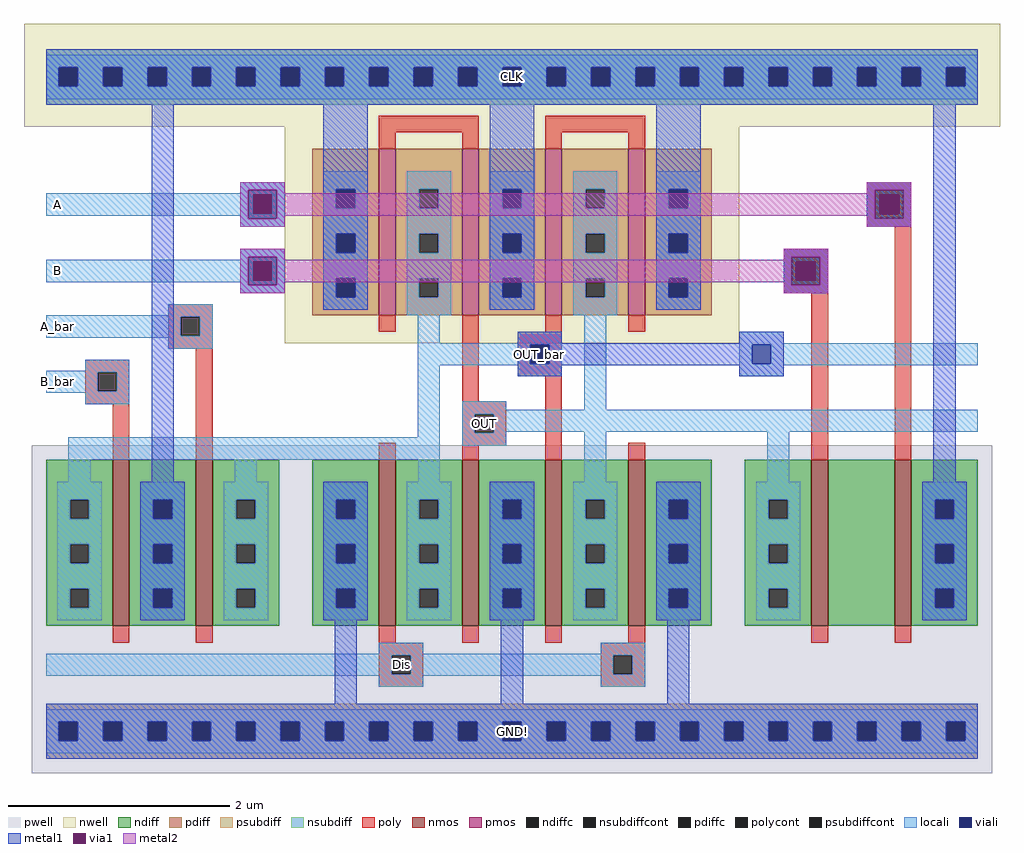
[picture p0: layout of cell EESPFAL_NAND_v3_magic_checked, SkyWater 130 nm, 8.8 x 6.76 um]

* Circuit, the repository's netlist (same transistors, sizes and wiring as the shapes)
* NGSPICE file created from EESPFAL_NAND_v3_magic_checked.ext - technology: sky130A

.subckt EESPFAL_NAND_v3_magic_checked OUT A A_bar B B_bar Dis OUT_bar GND CLK
X0 CLK OUT_bar OUT CLK sky130_fd_pr__pfet_01v8 ad=2.7e+12p pd=1.26e+07u as=9e+11p ps=4.2e+06u w=1.5e+06u l=150000u M=2
X1 CLK B_bar OUT_bar GND sky130_fd_pr__nfet_01v8 ad=6e+12p pd=2.62e+07u as=2.7e+12p ps=1.26e+07u w=1.5e+06u l=150000u
X2 OUT_bar Dis GND GND sky130_fd_pr__nfet_01v8 ad=0p pd=0u as=2.7e+12p ps=1.26e+07u w=1.5e+06u l=150000u
X3 OUT OUT_bar GND GND sky130_fd_pr__nfet_01v8 ad=1.8e+12p pd=8.4e+06u as=0p ps=0u w=1.5e+06u l=150000u
X4 OUT_bar OUT CLK CLK sky130_fd_pr__pfet_01v8 ad=9e+11p pd=4.2e+06u as=0p ps=0u w=1.5e+06u l=150000u M=2
X5 a_1450_270# B OUT GND sky130_fd_pr__nfet_01v8 ad=9e+11p pd=4.2e+06u as=0p ps=0u w=1.5e+06u l=150000u
X6 GND OUT OUT_bar GND sky130_fd_pr__nfet_01v8 ad=0p pd=0u as=0p ps=0u w=1.5e+06u l=150000u
X7 GND Dis OUT GND sky130_fd_pr__nfet_01v8 ad=0p pd=0u as=0p ps=0u w=1.5e+06u l=150000u
X8 CLK A a_1450_270# GND sky130_fd_pr__nfet_01v8 ad=0p pd=0u as=0p ps=0u w=1.5e+06u l=150000u
X9 OUT_bar A_bar CLK GND sky130_fd_pr__nfet_01v8 ad=0p pd=0u as=0p ps=0u w=1.5e+06u l=150000u
.ends

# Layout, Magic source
magic
tech sky130A
magscale 1 2
<< nwell >>
rect 0 1170 1760 1356
rect 470 780 1290 1170
<< pwell >>
rect 14 4 1746 596
<< nmos >>
rect 160 270 190 570
rect 310 270 340 570
rect 640 270 670 570
rect 790 270 820 570
rect 940 270 970 570
rect 1090 270 1120 570
rect 1420 270 1450 570
rect 1570 270 1600 570
<< pmos >>
rect 640 830 670 1130
rect 790 830 820 1130
rect 940 830 970 1130
rect 1090 830 1120 1130
<< ndiff >>
rect 40 497 160 570
rect 40 463 83 497
rect 117 463 160 497
rect 40 417 160 463
rect 40 383 83 417
rect 117 383 160 417
rect 40 337 160 383
rect 40 303 83 337
rect 117 303 160 337
rect 40 270 160 303
rect 190 497 310 570
rect 190 463 233 497
rect 267 463 310 497
rect 190 417 310 463
rect 190 383 233 417
rect 267 383 310 417
rect 190 337 310 383
rect 190 303 233 337
rect 267 303 310 337
rect 190 270 310 303
rect 340 497 460 570
rect 340 463 383 497
rect 417 463 460 497
rect 340 417 460 463
rect 340 383 383 417
rect 417 383 460 417
rect 340 337 460 383
rect 340 303 383 337
rect 417 303 460 337
rect 340 270 460 303
rect 520 497 640 570
rect 520 463 563 497
rect 597 463 640 497
rect 520 417 640 463
rect 520 383 563 417
rect 597 383 640 417
rect 520 337 640 383
rect 520 303 563 337
rect 597 303 640 337
rect 520 270 640 303
rect 670 497 790 570
rect 670 463 713 497
rect 747 463 790 497
rect 670 417 790 463
rect 670 383 713 417
rect 747 383 790 417
rect 670 337 790 383
rect 670 303 713 337
rect 747 303 790 337
rect 670 270 790 303
rect 820 497 940 570
rect 820 463 863 497
rect 897 463 940 497
rect 820 417 940 463
rect 820 383 863 417
rect 897 383 940 417
rect 820 337 940 383
rect 820 303 863 337
rect 897 303 940 337
rect 820 270 940 303
rect 970 497 1090 570
rect 970 463 1013 497
rect 1047 463 1090 497
rect 970 417 1090 463
rect 970 383 1013 417
rect 1047 383 1090 417
rect 970 337 1090 383
rect 970 303 1013 337
rect 1047 303 1090 337
rect 970 270 1090 303
rect 1120 497 1240 570
rect 1120 463 1163 497
rect 1197 463 1240 497
rect 1120 417 1240 463
rect 1120 383 1163 417
rect 1197 383 1240 417
rect 1120 337 1240 383
rect 1120 303 1163 337
rect 1197 303 1240 337
rect 1120 270 1240 303
rect 1300 497 1420 570
rect 1300 463 1343 497
rect 1377 463 1420 497
rect 1300 417 1420 463
rect 1300 383 1343 417
rect 1377 383 1420 417
rect 1300 337 1420 383
rect 1300 303 1343 337
rect 1377 303 1420 337
rect 1300 270 1420 303
rect 1450 270 1570 570
rect 1600 497 1720 570
rect 1600 463 1643 497
rect 1677 463 1720 497
rect 1600 417 1720 463
rect 1600 383 1643 417
rect 1677 383 1720 417
rect 1600 337 1720 383
rect 1600 303 1643 337
rect 1677 303 1720 337
rect 1600 270 1720 303
<< pdiff >>
rect 520 1057 640 1130
rect 520 1023 563 1057
rect 597 1023 640 1057
rect 520 977 640 1023
rect 520 943 563 977
rect 597 943 640 977
rect 520 897 640 943
rect 520 863 563 897
rect 597 863 640 897
rect 520 830 640 863
rect 670 1057 790 1130
rect 670 1023 713 1057
rect 747 1023 790 1057
rect 670 977 790 1023
rect 670 943 713 977
rect 747 943 790 977
rect 670 897 790 943
rect 670 863 713 897
rect 747 863 790 897
rect 670 830 790 863
rect 820 1057 940 1130
rect 820 1023 863 1057
rect 897 1023 940 1057
rect 820 977 940 1023
rect 820 943 863 977
rect 897 943 940 977
rect 820 897 940 943
rect 820 863 863 897
rect 897 863 940 897
rect 820 830 940 863
rect 970 1057 1090 1130
rect 970 1023 1013 1057
rect 1047 1023 1090 1057
rect 970 977 1090 1023
rect 970 943 1013 977
rect 1047 943 1090 977
rect 970 897 1090 943
rect 970 863 1013 897
rect 1047 863 1090 897
rect 970 830 1090 863
rect 1120 1057 1240 1130
rect 1120 1023 1163 1057
rect 1197 1023 1240 1057
rect 1120 977 1240 1023
rect 1120 943 1163 977
rect 1197 943 1240 977
rect 1120 897 1240 943
rect 1120 863 1163 897
rect 1197 863 1240 897
rect 1120 830 1240 863
<< ndiffc >>
rect 83 463 117 497
rect 83 383 117 417
rect 83 303 117 337
rect 233 463 267 497
rect 233 383 267 417
rect 233 303 267 337
rect 383 463 417 497
rect 383 383 417 417
rect 383 303 417 337
rect 563 463 597 497
rect 563 383 597 417
rect 563 303 597 337
rect 713 463 747 497
rect 713 383 747 417
rect 713 303 747 337
rect 863 463 897 497
rect 863 383 897 417
rect 863 303 897 337
rect 1013 463 1047 497
rect 1013 383 1047 417
rect 1013 303 1047 337
rect 1163 463 1197 497
rect 1163 383 1197 417
rect 1163 303 1197 337
rect 1343 463 1377 497
rect 1343 383 1377 417
rect 1343 303 1377 337
rect 1643 463 1677 497
rect 1643 383 1677 417
rect 1643 303 1677 337
<< pdiffc >>
rect 563 1023 597 1057
rect 563 943 597 977
rect 563 863 597 897
rect 713 1023 747 1057
rect 713 943 747 977
rect 713 863 747 897
rect 863 1023 897 1057
rect 863 943 897 977
rect 863 863 897 897
rect 1013 1023 1047 1057
rect 1013 943 1047 977
rect 1013 863 1047 897
rect 1163 1023 1197 1057
rect 1163 943 1197 977
rect 1163 863 1197 897
<< psubdiff >>
rect 40 97 1720 130
rect 40 63 63 97
rect 97 63 143 97
rect 177 63 223 97
rect 257 63 303 97
rect 337 63 383 97
rect 417 63 463 97
rect 497 63 543 97
rect 577 63 623 97
rect 657 63 703 97
rect 737 63 783 97
rect 817 63 863 97
rect 897 63 943 97
rect 977 63 1023 97
rect 1057 63 1103 97
rect 1137 63 1183 97
rect 1217 63 1263 97
rect 1297 63 1343 97
rect 1377 63 1423 97
rect 1457 63 1503 97
rect 1537 63 1583 97
rect 1617 63 1663 97
rect 1697 63 1720 97
rect 40 30 1720 63
<< nsubdiff >>
rect 40 1277 1720 1310
rect 40 1243 63 1277
rect 97 1243 143 1277
rect 177 1243 223 1277
rect 257 1243 303 1277
rect 337 1243 383 1277
rect 417 1243 463 1277
rect 497 1243 543 1277
rect 577 1243 623 1277
rect 657 1243 703 1277
rect 737 1243 783 1277
rect 817 1243 863 1277
rect 897 1243 943 1277
rect 977 1243 1023 1277
rect 1057 1243 1103 1277
rect 1137 1243 1183 1277
rect 1217 1243 1263 1277
rect 1297 1243 1343 1277
rect 1377 1243 1423 1277
rect 1457 1243 1503 1277
rect 1537 1243 1583 1277
rect 1617 1243 1663 1277
rect 1697 1243 1720 1277
rect 40 1210 1720 1243
<< psubdiffcont >>
rect 63 63 97 97
rect 143 63 177 97
rect 223 63 257 97
rect 303 63 337 97
rect 383 63 417 97
rect 463 63 497 97
rect 543 63 577 97
rect 623 63 657 97
rect 703 63 737 97
rect 783 63 817 97
rect 863 63 897 97
rect 943 63 977 97
rect 1023 63 1057 97
rect 1103 63 1137 97
rect 1183 63 1217 97
rect 1263 63 1297 97
rect 1343 63 1377 97
rect 1423 63 1457 97
rect 1503 63 1537 97
rect 1583 63 1617 97
rect 1663 63 1697 97
<< nsubdiffcont >>
rect 63 1243 97 1277
rect 143 1243 177 1277
rect 223 1243 257 1277
rect 303 1243 337 1277
rect 383 1243 417 1277
rect 463 1243 497 1277
rect 543 1243 577 1277
rect 623 1243 657 1277
rect 703 1243 737 1277
rect 783 1243 817 1277
rect 863 1243 897 1277
rect 943 1243 977 1277
rect 1023 1243 1057 1277
rect 1103 1243 1137 1277
rect 1183 1243 1217 1277
rect 1263 1243 1297 1277
rect 1343 1243 1377 1277
rect 1423 1243 1457 1277
rect 1503 1243 1537 1277
rect 1583 1243 1617 1277
rect 1663 1243 1697 1277
<< poly >>
rect 640 1160 820 1190
rect 640 1130 670 1160
rect 790 1130 820 1160
rect 940 1160 1120 1190
rect 940 1130 970 1160
rect 1090 1130 1120 1160
rect 260 827 340 850
rect 1520 1047 1600 1070
rect 1520 1013 1543 1047
rect 1577 1013 1600 1047
rect 1520 990 1600 1013
rect 1370 927 1450 950
rect 1370 893 1393 927
rect 1427 893 1450 927
rect 1370 870 1450 893
rect 260 793 283 827
rect 317 793 340 827
rect 640 800 670 830
rect 260 770 340 793
rect 110 727 190 750
rect 110 693 133 727
rect 167 693 190 727
rect 110 670 190 693
rect 160 570 190 670
rect 310 570 340 770
rect 790 675 820 830
rect 940 800 970 830
rect 1090 800 1120 830
rect 890 777 970 800
rect 890 743 913 777
rect 947 743 970 777
rect 890 720 970 743
rect 790 652 870 675
rect 790 618 813 652
rect 847 618 870 652
rect 640 570 670 600
rect 790 595 870 618
rect 790 570 820 595
rect 940 570 970 720
rect 1090 570 1120 600
rect 1420 570 1450 870
rect 1570 570 1600 990
rect 160 240 190 270
rect 310 240 340 270
rect 640 240 670 270
rect 790 240 820 270
rect 940 240 970 270
rect 1090 240 1120 270
rect 1420 240 1450 270
rect 1570 240 1600 270
rect 640 217 720 240
rect 640 183 663 217
rect 697 183 720 217
rect 640 160 720 183
rect 1040 217 1120 240
rect 1040 183 1063 217
rect 1097 183 1120 217
rect 1040 160 1120 183
<< polycont >>
rect 1543 1013 1577 1047
rect 1393 893 1427 927
rect 283 793 317 827
rect 133 693 167 727
rect 913 743 947 777
rect 813 618 847 652
rect 663 183 697 217
rect 1063 183 1097 217
<< locali >>
rect 40 1277 1720 1300
rect 40 1243 63 1277
rect 97 1243 143 1277
rect 177 1243 223 1277
rect 257 1243 303 1277
rect 337 1243 383 1277
rect 417 1243 463 1277
rect 497 1243 543 1277
rect 577 1243 623 1277
rect 657 1243 703 1277
rect 737 1243 783 1277
rect 817 1243 863 1277
rect 897 1243 943 1277
rect 977 1243 1023 1277
rect 1057 1243 1103 1277
rect 1137 1243 1183 1277
rect 1217 1243 1263 1277
rect 1297 1243 1343 1277
rect 1377 1243 1423 1277
rect 1457 1243 1503 1277
rect 1537 1243 1583 1277
rect 1617 1243 1663 1277
rect 1697 1243 1720 1277
rect 40 1220 1720 1243
rect 390 1050 470 1070
rect 40 1047 470 1050
rect 40 1013 413 1047
rect 447 1013 470 1047
rect 40 1010 470 1013
rect 390 990 470 1010
rect 540 1057 620 1090
rect 540 1023 563 1057
rect 597 1023 620 1057
rect 540 977 620 1023
rect 390 930 470 950
rect 40 927 470 930
rect 40 893 413 927
rect 447 893 470 927
rect 40 890 470 893
rect 390 870 470 890
rect 540 943 563 977
rect 597 943 620 977
rect 540 897 620 943
rect 540 863 563 897
rect 597 863 620 897
rect 260 830 340 850
rect 540 840 620 863
rect 690 1057 770 1090
rect 690 1023 713 1057
rect 747 1023 770 1057
rect 690 977 770 1023
rect 690 943 713 977
rect 747 943 770 977
rect 690 897 770 943
rect 690 863 713 897
rect 747 863 770 897
rect 690 830 770 863
rect 840 1057 920 1090
rect 840 1023 863 1057
rect 897 1023 920 1057
rect 840 977 920 1023
rect 840 943 863 977
rect 897 943 920 977
rect 840 897 920 943
rect 840 863 863 897
rect 897 863 920 897
rect 840 840 920 863
rect 990 1057 1070 1090
rect 990 1023 1013 1057
rect 1047 1023 1070 1057
rect 990 977 1070 1023
rect 990 943 1013 977
rect 1047 943 1070 977
rect 990 897 1070 943
rect 990 863 1013 897
rect 1047 863 1070 897
rect 990 830 1070 863
rect 1140 1057 1220 1090
rect 1140 1023 1163 1057
rect 1197 1023 1220 1057
rect 1140 977 1220 1023
rect 1520 1047 1600 1070
rect 1520 1013 1543 1047
rect 1577 1013 1600 1047
rect 1520 990 1600 1013
rect 1140 943 1163 977
rect 1197 943 1220 977
rect 1140 897 1220 943
rect 1140 863 1163 897
rect 1197 863 1220 897
rect 1370 927 1450 950
rect 1370 893 1393 927
rect 1427 893 1450 927
rect 1370 870 1450 893
rect 1140 840 1220 863
rect 40 827 340 830
rect 40 793 283 827
rect 317 793 340 827
rect 40 790 340 793
rect 260 770 340 790
rect 710 780 750 830
rect 890 780 970 800
rect 710 777 970 780
rect 110 730 190 750
rect 40 727 190 730
rect 40 693 133 727
rect 167 693 190 727
rect 40 690 190 693
rect 110 670 190 690
rect 710 743 913 777
rect 947 743 970 777
rect 710 740 970 743
rect 710 610 750 740
rect 890 720 970 740
rect 80 570 750 610
rect 790 660 870 675
rect 1010 660 1050 830
rect 1290 780 1370 800
rect 1290 777 1720 780
rect 1290 743 1313 777
rect 1347 743 1720 777
rect 1290 740 1720 743
rect 1290 720 1370 740
rect 790 652 1720 660
rect 790 618 813 652
rect 847 620 1720 652
rect 847 618 870 620
rect 790 595 870 618
rect 80 530 120 570
rect 380 530 420 570
rect 711 530 750 570
rect 1010 530 1050 620
rect 1340 530 1380 620
rect 60 497 140 530
rect 60 463 83 497
rect 117 463 140 497
rect 60 417 140 463
rect 60 383 83 417
rect 117 383 140 417
rect 60 337 140 383
rect 60 303 83 337
rect 117 303 140 337
rect 60 280 140 303
rect 210 497 290 530
rect 210 463 233 497
rect 267 463 290 497
rect 210 417 290 463
rect 210 383 233 417
rect 267 383 290 417
rect 210 337 290 383
rect 210 303 233 337
rect 267 303 290 337
rect 210 280 290 303
rect 360 497 440 530
rect 360 463 383 497
rect 417 463 440 497
rect 360 417 440 463
rect 360 383 383 417
rect 417 383 440 417
rect 360 337 440 383
rect 360 303 383 337
rect 417 303 440 337
rect 360 280 440 303
rect 540 497 620 530
rect 540 463 563 497
rect 597 463 620 497
rect 540 417 620 463
rect 540 383 563 417
rect 597 383 620 417
rect 540 337 620 383
rect 540 303 563 337
rect 597 303 620 337
rect 540 280 620 303
rect 690 497 770 530
rect 690 463 713 497
rect 747 463 770 497
rect 690 417 770 463
rect 690 383 713 417
rect 747 383 770 417
rect 690 337 770 383
rect 690 303 713 337
rect 747 303 770 337
rect 690 280 770 303
rect 840 497 920 530
rect 840 463 863 497
rect 897 463 920 497
rect 840 417 920 463
rect 840 383 863 417
rect 897 383 920 417
rect 840 337 920 383
rect 840 303 863 337
rect 897 303 920 337
rect 840 280 920 303
rect 990 497 1070 530
rect 990 463 1013 497
rect 1047 463 1070 497
rect 990 417 1070 463
rect 990 383 1013 417
rect 1047 383 1070 417
rect 990 337 1070 383
rect 990 303 1013 337
rect 1047 303 1070 337
rect 990 280 1070 303
rect 1140 497 1220 530
rect 1140 463 1163 497
rect 1197 463 1220 497
rect 1140 417 1220 463
rect 1140 383 1163 417
rect 1197 383 1220 417
rect 1140 337 1220 383
rect 1140 303 1163 337
rect 1197 303 1220 337
rect 1140 280 1220 303
rect 1320 497 1400 530
rect 1320 463 1343 497
rect 1377 463 1400 497
rect 1320 417 1400 463
rect 1320 383 1343 417
rect 1377 383 1400 417
rect 1320 337 1400 383
rect 1320 303 1343 337
rect 1377 303 1400 337
rect 1320 280 1400 303
rect 1620 497 1700 530
rect 1620 463 1643 497
rect 1677 463 1700 497
rect 1620 417 1700 463
rect 1620 383 1643 417
rect 1677 383 1700 417
rect 1620 337 1700 383
rect 1620 303 1643 337
rect 1677 303 1700 337
rect 1620 280 1700 303
rect 640 220 720 240
rect 1040 220 1120 240
rect 40 217 1120 220
rect 40 183 663 217
rect 697 183 1063 217
rect 1097 183 1120 217
rect 40 180 1120 183
rect 640 160 720 180
rect 1040 160 1120 180
rect 40 97 1720 120
rect 40 63 63 97
rect 97 63 143 97
rect 177 63 223 97
rect 257 63 303 97
rect 337 63 383 97
rect 417 63 463 97
rect 497 63 543 97
rect 577 63 623 97
rect 657 63 703 97
rect 737 63 783 97
rect 817 63 863 97
rect 897 63 943 97
rect 977 63 1023 97
rect 1057 63 1103 97
rect 1137 63 1183 97
rect 1217 63 1263 97
rect 1297 63 1343 97
rect 1377 63 1423 97
rect 1457 63 1503 97
rect 1537 63 1583 97
rect 1617 63 1663 97
rect 1697 63 1720 97
rect 40 40 1720 63
<< viali >>
rect 63 1243 97 1277
rect 143 1243 177 1277
rect 223 1243 257 1277
rect 303 1243 337 1277
rect 383 1243 417 1277
rect 463 1243 497 1277
rect 543 1243 577 1277
rect 623 1243 657 1277
rect 703 1243 737 1277
rect 783 1243 817 1277
rect 863 1243 897 1277
rect 943 1243 977 1277
rect 1023 1243 1057 1277
rect 1103 1243 1137 1277
rect 1183 1243 1217 1277
rect 1263 1243 1297 1277
rect 1343 1243 1377 1277
rect 1423 1243 1457 1277
rect 1503 1243 1537 1277
rect 1583 1243 1617 1277
rect 1663 1243 1697 1277
rect 413 1013 447 1047
rect 563 1023 597 1057
rect 413 893 447 927
rect 563 943 597 977
rect 563 863 597 897
rect 863 1023 897 1057
rect 863 943 897 977
rect 863 863 897 897
rect 1163 1023 1197 1057
rect 1543 1013 1577 1047
rect 1163 943 1197 977
rect 1163 863 1197 897
rect 1393 893 1427 927
rect 913 743 947 777
rect 1313 743 1347 777
rect 233 463 267 497
rect 233 383 267 417
rect 233 303 267 337
rect 563 463 597 497
rect 563 383 597 417
rect 563 303 597 337
rect 863 463 897 497
rect 863 383 897 417
rect 863 303 897 337
rect 1163 463 1197 497
rect 1163 383 1197 417
rect 1163 303 1197 337
rect 1643 463 1677 497
rect 1643 383 1677 417
rect 1643 303 1677 337
rect 63 63 97 97
rect 143 63 177 97
rect 223 63 257 97
rect 303 63 337 97
rect 383 63 417 97
rect 463 63 497 97
rect 543 63 577 97
rect 623 63 657 97
rect 703 63 737 97
rect 783 63 817 97
rect 863 63 897 97
rect 943 63 977 97
rect 1023 63 1057 97
rect 1103 63 1137 97
rect 1183 63 1217 97
rect 1263 63 1297 97
rect 1343 63 1377 97
rect 1423 63 1457 97
rect 1503 63 1537 97
rect 1583 63 1617 97
rect 1663 63 1697 97
<< metal1 >>
rect 40 1277 1720 1310
rect 40 1243 63 1277
rect 97 1243 143 1277
rect 177 1243 223 1277
rect 257 1243 303 1277
rect 337 1243 383 1277
rect 417 1243 463 1277
rect 497 1243 543 1277
rect 577 1243 623 1277
rect 657 1243 703 1277
rect 737 1243 783 1277
rect 817 1243 863 1277
rect 897 1243 943 1277
rect 977 1243 1023 1277
rect 1057 1243 1103 1277
rect 1137 1243 1183 1277
rect 1217 1243 1263 1277
rect 1297 1243 1343 1277
rect 1377 1243 1423 1277
rect 1457 1243 1503 1277
rect 1537 1243 1583 1277
rect 1617 1243 1663 1277
rect 1697 1243 1720 1277
rect 40 1210 1720 1243
rect 230 530 270 1210
rect 390 1056 470 1070
rect 390 1004 404 1056
rect 456 1004 470 1056
rect 390 990 470 1004
rect 540 1057 620 1210
rect 540 1023 563 1057
rect 597 1023 620 1057
rect 540 977 620 1023
rect 390 936 470 950
rect 390 884 404 936
rect 456 884 470 936
rect 390 870 470 884
rect 540 943 563 977
rect 597 943 620 977
rect 540 897 620 943
rect 540 863 563 897
rect 597 863 620 897
rect 540 840 620 863
rect 840 1057 920 1210
rect 840 1023 863 1057
rect 897 1023 920 1057
rect 840 977 920 1023
rect 840 943 863 977
rect 897 943 920 977
rect 840 897 920 943
rect 840 863 863 897
rect 897 863 920 897
rect 840 840 920 863
rect 1140 1057 1220 1210
rect 1140 1023 1163 1057
rect 1197 1023 1220 1057
rect 1140 977 1220 1023
rect 1520 1056 1600 1070
rect 1520 1004 1534 1056
rect 1586 1004 1600 1056
rect 1520 990 1600 1004
rect 1140 943 1163 977
rect 1197 943 1220 977
rect 1140 897 1220 943
rect 1140 863 1163 897
rect 1197 863 1220 897
rect 1370 936 1450 950
rect 1370 884 1384 936
rect 1436 884 1450 936
rect 1370 870 1450 884
rect 1140 840 1220 863
rect 890 780 970 800
rect 1290 780 1370 800
rect 890 777 1370 780
rect 890 743 913 777
rect 947 743 1313 777
rect 1347 743 1370 777
rect 890 740 1370 743
rect 890 720 970 740
rect 1290 720 1370 740
rect 1640 530 1680 1210
rect 210 497 290 530
rect 210 463 233 497
rect 267 463 290 497
rect 210 417 290 463
rect 210 383 233 417
rect 267 383 290 417
rect 210 337 290 383
rect 210 303 233 337
rect 267 303 290 337
rect 210 280 290 303
rect 540 497 620 530
rect 540 463 563 497
rect 597 463 620 497
rect 540 417 620 463
rect 540 383 563 417
rect 597 383 620 417
rect 540 337 620 383
rect 540 303 563 337
rect 597 303 620 337
rect 540 280 620 303
rect 840 497 920 530
rect 840 463 863 497
rect 897 463 920 497
rect 840 417 920 463
rect 840 383 863 417
rect 897 383 920 417
rect 840 337 920 383
rect 840 303 863 337
rect 897 303 920 337
rect 840 280 920 303
rect 1140 497 1220 530
rect 1140 463 1163 497
rect 1197 463 1220 497
rect 1140 417 1220 463
rect 1140 383 1163 417
rect 1197 383 1220 417
rect 1140 337 1220 383
rect 1140 303 1163 337
rect 1197 303 1220 337
rect 1140 280 1220 303
rect 1620 497 1700 530
rect 1620 463 1643 497
rect 1677 463 1700 497
rect 1620 417 1700 463
rect 1620 383 1643 417
rect 1677 383 1700 417
rect 1620 337 1700 383
rect 1620 303 1643 337
rect 1677 303 1700 337
rect 1620 280 1700 303
rect 560 130 600 280
rect 860 130 900 280
rect 1160 130 1200 280
rect 40 97 1720 130
rect 40 63 63 97
rect 97 63 143 97
rect 177 63 223 97
rect 257 63 303 97
rect 337 63 383 97
rect 417 63 463 97
rect 497 63 543 97
rect 577 63 623 97
rect 657 63 703 97
rect 737 63 783 97
rect 817 63 863 97
rect 897 63 943 97
rect 977 63 1023 97
rect 1057 63 1103 97
rect 1137 63 1183 97
rect 1217 63 1263 97
rect 1297 63 1343 97
rect 1377 63 1423 97
rect 1457 63 1503 97
rect 1537 63 1583 97
rect 1617 63 1663 97
rect 1697 63 1720 97
rect 40 30 1720 63
<< via1 >>
rect 404 1047 456 1056
rect 404 1013 413 1047
rect 413 1013 447 1047
rect 447 1013 456 1047
rect 404 1004 456 1013
rect 404 927 456 936
rect 404 893 413 927
rect 413 893 447 927
rect 447 893 456 927
rect 404 884 456 893
rect 1534 1047 1586 1056
rect 1534 1013 1543 1047
rect 1543 1013 1577 1047
rect 1577 1013 1586 1047
rect 1534 1004 1586 1013
rect 1384 927 1436 936
rect 1384 893 1393 927
rect 1393 893 1427 927
rect 1427 893 1436 927
rect 1384 884 1436 893
<< metal2 >>
rect 390 1056 470 1070
rect 390 1004 404 1056
rect 456 1050 470 1056
rect 1520 1056 1600 1070
rect 1520 1050 1534 1056
rect 456 1010 1534 1050
rect 456 1004 470 1010
rect 390 990 470 1004
rect 1520 1004 1534 1010
rect 1586 1004 1600 1056
rect 1520 990 1600 1004
rect 390 936 470 950
rect 390 884 404 936
rect 456 930 470 936
rect 1370 936 1450 950
rect 1370 930 1384 936
rect 456 890 1384 930
rect 456 884 470 890
rect 390 870 470 884
rect 1370 884 1384 890
rect 1436 884 1450 936
rect 1370 870 1450 884
<< labels >>
rlabel locali s 810 615 850 655 4 OUT
port 1 nsew
rlabel locali s 50 1020 70 1040 4 A
port 2 nsew
rlabel locali s 50 800 70 820 4 A_bar
port 3 nsew
rlabel locali s 50 900 70 920 4 B
port 4 nsew
rlabel locali s 50 700 70 720 4 B_bar
port 5 nsew
rlabel locali s 660 180 700 220 4 Dis
port 6 nsew
rlabel metal1 s 910 740 950 780 4 OUT_bar
port 7 nsew
rlabel metal1 s 860 60 900 100 4 GND!
port 8 nsew
rlabel metal1 s 860 1240 900 1280 4 CLK
port 9 nsew
<< end >>
